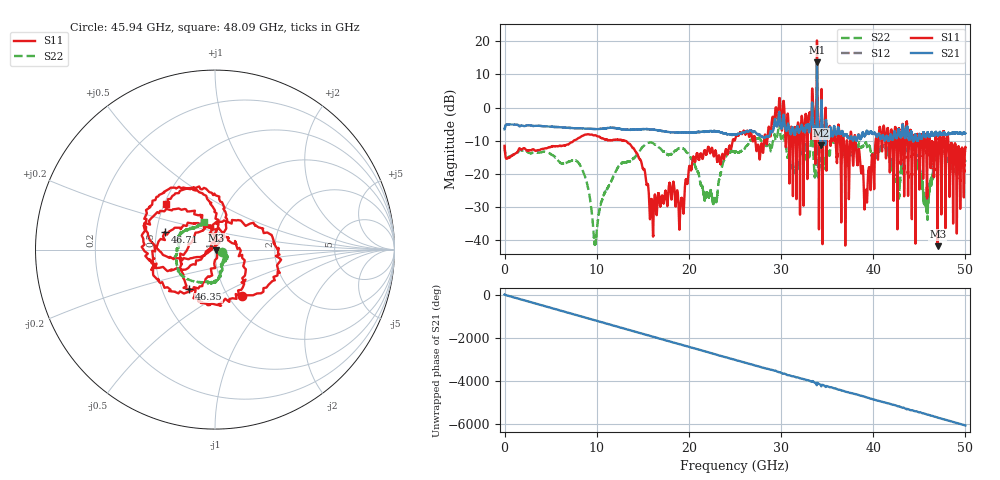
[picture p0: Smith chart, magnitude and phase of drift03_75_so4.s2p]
!Created with skrf (http://scikit-rf.org).
# Hz S RI R 50.0
!freq ReS11 ImS11 ReS21 ImS21 ReS12 ImS12 ReS22 ImS22
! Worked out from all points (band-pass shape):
!   10001 points, 300 kHz to 50 GHz, reference 50 ohm
!   highest |S21| = 13.67 dB at 33.9 GHz (marker M1); lowest = -11.3 dB at 34.32 GHz (marker M2)
!   |S21| within 3 dB of the highest: 33.8903 GHz to 33.90422 GHz (13.91 MHz wide, 0.041 % of centre)
!   lowest |S11| = -41.7 dB at 46.99 GHz (marker M3), VSWR 1.02, Z = 50.7 - j0.456 ohm
!   |S11| at or under -10 dB: start of sweep to 7.49 GHz; 13.13 GHz to 24.74 GHz (11.61 GHz wide, 61.3 % of centre); 38.09 GHz to 40.25 GHz (2.158 GHz wide, 5.51 % of centre) (the widest 3 of 46)
!   |S22| runs from -41.4 to 6.1 dB; largest |S21 - S12| = 0.34
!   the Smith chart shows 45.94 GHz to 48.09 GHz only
!   S11 on the Smith chart (normalised r, x): 45.94 GHz: 1.15, -0.66; 46.35 GHz: 0.69, -0.33; 46.71 GHz: 0.55, +0.12; 48.09 GHz: 0.51, +0.30
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300000  -0.2343 -0.1258  0.466 0.0821  0.4655 0.0824  -0.2359 -0.1293
1.440291e9  0.2101 0.0647  -0.5476 -0.0301  -0.548 -0.0293  0.2116 -0.00408
2.915283e9  -0.2122 -0.088  0.5344 0.0517  0.5344 0.052  -0.2016 0.04
4.415274e9  0.2057 0.1321  -0.5215 -0.0425  -0.522 -0.0427  0.1988 -0.0871
8.33525e9  0.2891 -0.2335  0.1454 0.4665  0.1457 0.4663  -0.0724 -0.1017
9.840241e9  -0.3652 0.125  -0.1425 -0.4541  -0.1425 -0.4545  0.00916 0.00214
1.66702e10  0.0267 0.0436  -0.3794 0.2528  -0.3794 0.2527  -0.1286 -0.2205
2.500015e10  -0.3265 -0.0159  -0.2553 -0.2978  -0.2532 -0.2996  -0.2137 0.0289
2.895513e10  -0.3264 0.4321  -0.2897 0.3253  -0.3006 0.2885  0.0647 0.2213
3.006512e10  0.4002 0.2674  0.4512 -0.1953  0.4555 -0.1795  0.1767 -0.2961
3.171011e10  -0.0919 0.1856  -0.3641 0.3572  -0.3634 0.353  0.065 0.159
3.33351e10  0.6587 -0.8253  0.2605 -0.8576  0.2662 -0.8359  -0.1873 -0.4337
3.38951e10  -1.86 -10.12  -4.796 0.5418  -4.519 0.7338  0.3983 1.988
3.432009e10  -0.7776 -0.00336  -0.1821 0.201  -0.244 0.18  0.1439 -0.0756
3.918006e10  0.0547 0.0177  0.2136 -0.3485  0.2223 -0.3407  -0.2675 -0.134
4.167005e10  -0.2099 0.3001  0.3163 0.00139  0.3169 0.00875  -0.1904 -0.00843
4.593502e10  0.1505 -0.2589  -0.3576 -0.2121  -0.3556 -0.2171  0.0377 -0.0115
4.634502e10  -0.1431 -0.2205  -0.3909 0.1625  -0.395 0.1578  0.0507 -0.0602
4.671002e10  -0.2799 0.0971  -0.1181 0.3813  -0.1203 0.381  -0.00106 -0.1795
4.699002e10  0.00686 -0.0045  0.0958 0.3738  0.0934 0.3738  -0.1296 -0.1753
4.809001e10  -0.2752 0.2545  0.2102 -0.345  0.2111 -0.3501  -0.0598 0.1545
5e10  -0.1222 -0.2249  0.1421 0.3859  0.14 0.3845  -0.0522 -0.1468
